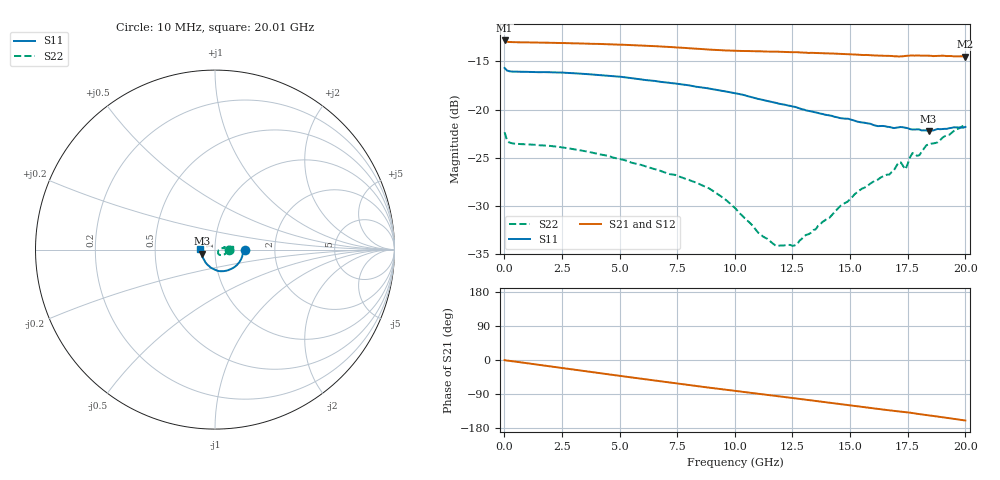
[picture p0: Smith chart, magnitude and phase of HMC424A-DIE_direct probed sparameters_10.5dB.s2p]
!s2p File: Measurements: S11, S21, S12, S22
# GHz S dB R 50.0
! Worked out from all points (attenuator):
!   201 points, 10 MHz to 20.01 GHz, reference 50 ohm
!   highest |S21| = -12.83 dB at 10 MHz (marker M1); lowest = -14.5 dB at 20.01 GHz (marker M2)
!   lowest |S11| = -22.2 dB at 18.41 GHz (marker M3), VSWR 1.17, Z = 43.1 - j1.99 ohm
!   |S11| at or under -10 dB: start of sweep to end of sweep
!   |S22| runs from -34.1 to -21.4 dB; largest |S21 - S12| = 0.0018
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0.01  -15.68 -0.8  -12.83 -0.4  -12.83 -0.4  -22.34 -1.6
0.11  -15.94 -1.9  -12.96 -1.4  -12.95 -1.4  -23.15 -4.2
0.31  -16.05 -2.9  -13.00 -2.9  -13.00 -2.9  -23.47 -4.0
3.41  -16.29 -25.5  -13.15 -28.6  -13.15 -28.6  -24.26 -23.1
6.71  -17.10 -51.2  -13.45 -55.8  -13.45 -55.8  -26.29 -39.8
8.81  -17.78 -68.6  -13.77 -72.3  -13.77 -72.3  -28.08 -48.5
10.01  -18.30 -79.5  -13.89 -81.2  -13.90 -81.1  -30.19 -51.9
11.01  -18.89 -88.5  -13.95 -88.7  -13.96 -88.6  -32.74 -44.5
11.81  -19.31 -95.9  -13.99 -94.8  -14.01 -94.8  -34.15 -30.3
12.61  -19.71 -103.2  -14.05 -101.1  -14.06 -101.0  -34.06 -13.7
13.41  -20.23 -110.7  -14.12 -107.3  -14.13 -107.3  -32.48 0.3
15.51  -21.33 -131.4  -14.33 -123.7  -14.31 -123.5  -28.20 10.5
16.71  -21.80 -144.8  -14.43 -132.7  -14.41 -132.7  -26.73 11.1
16.91  -21.91 -146.7  -14.47 -134.2  -14.41 -134.2  -26.28 12.9
17.11  -21.83 -148.2  -14.49 -135.6  -14.42 -135.6  -25.46 11.3
17.21  -21.80 -149.5  -14.48 -136.2  -14.43 -136.4  -25.47 7.5
17.41  -21.88 -152.1  -14.43 -137.5  -14.45 -137.9  -26.18 10.6
17.71  -22.06 -154.6  -14.38 -140.1  -14.42 -140.2  -24.51 10.8
18.01  -22.05 -158.1  -14.40 -142.8  -14.44 -142.6  -24.72 10.6
18.41  -22.20 -162.8  -14.41 -146.0  -14.43 -145.9  -23.59 8.7
18.81  -22.00 -166.9  -14.42 -149.3  -14.44 -149.1  -23.38 8.2
20.01  -21.79 179.3  -14.50 -159.7  -14.48 -159.6  -21.44 4.1
